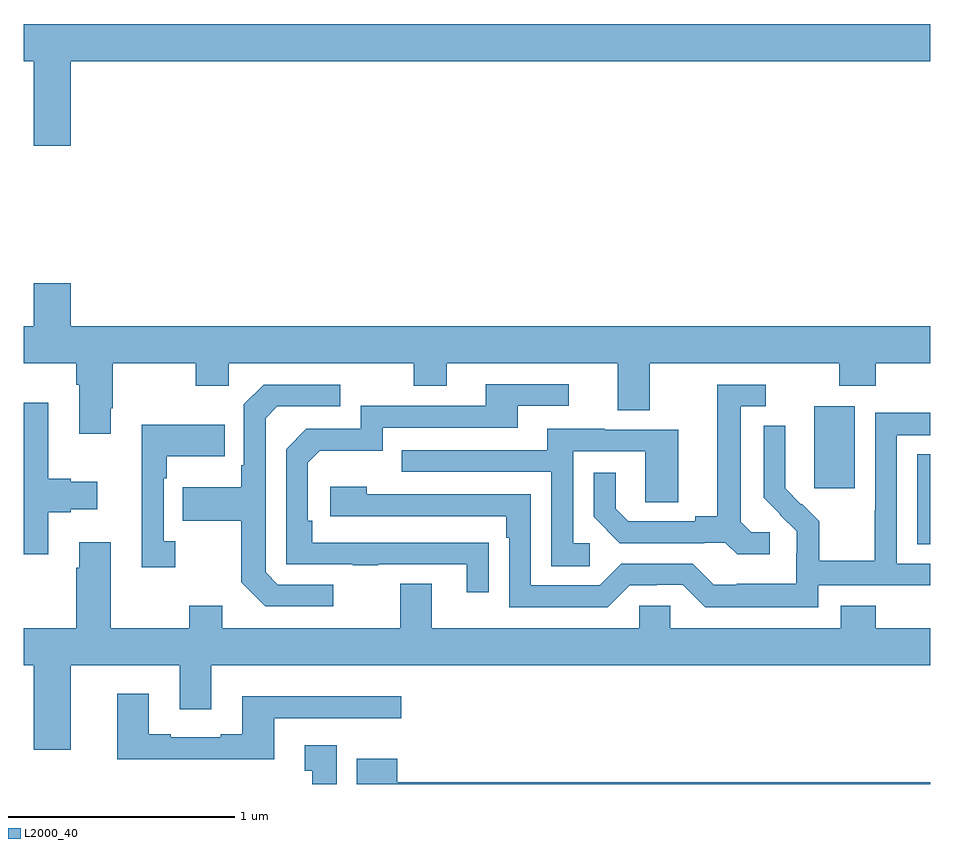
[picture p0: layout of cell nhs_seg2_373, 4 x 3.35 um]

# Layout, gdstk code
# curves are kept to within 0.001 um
import gdstk
lib = gdstk.Library(unit=1e-6, precision=1e-09)
def R(c, l, rs):  # rectangles x0, y0, x1, y1
    for r in rs: c.add(gdstk.rectangle(r[:2], r[2:], *l))
def P(c, l, *ps):  # polygons
    for p in ps: c.add(gdstk.Polygon(p, *l))
L2000_40 = (2000, 40)

nhs_seg2_373 = lib.new_cell('nhs_seg2_373')
R(nhs_seg2_373, L2000_40, [(132.941,626.857,133,627.254), (132.488,627.105,132.667,627.466)])
P(nhs_seg2_373, L2000_40, [(129.208,628.988),(133,628.988),(133,629.152),(129,629.152),(129,628.988),(129.044,628.988),(129.044,628.614),(129.208,628.614)],
  [(129.385,627.457),(129.393,627.457),(129.393,627.656),(129.76,627.656),(129.76,627.557),(129.906,627.557),(129.906,627.656),(130.72,627.656),(130.72,627.557),(130.867,627.557),(130.867,627.656),(131.621,627.656),(131.621,627.448),(131.761,627.448),(131.761,627.656),(132.598,627.656),(132.598,627.557),(132.758,627.557),(132.758,627.656),(133,627.656),(133,627.82),(129.208,627.82),(129.208,628.009),(129.044,628.009),(129.044,627.82),(129,627.82),(129,627.656),(129.233,627.656),(129.233,627.56),(129.245,627.56),(129.245,627.345),(129.385,627.345)],
  [(131.051,626.864),(130.274,626.865),(130.274,626.962),(130.254,626.962),(130.254,627.216),(130.307,627.269),(130.584,627.269),(130.584,627.372),(131.179,627.372),(131.179,627.468),(131.404,627.468),(131.404,627.564),(131.039,627.564),(131.039,627.468),(130.488,627.468),(130.488,627.366),(130.248,627.366),(130.158,627.276),(130.158,626.769),(130.453,626.769),(130.453,626.764),(130.565,626.764),(130.565,626.769),(130.955,626.769),(130.955,626.646),(131.051,626.646)],
  [(132.292,626.91),(132.21,626.91),(132.163,626.957),(132.163,627.465),(132.274,627.465),(132.274,627.561),(132.059,627.561),(132.059,626.981),(131.963,626.981),(131.963,626.958),(131.668,626.958),(131.611,627.015),(131.611,627.172),(131.514,627.172),(131.514,626.978),(131.63,626.862),(132.002,626.862),(132.002,626.865),(132.096,626.865),(132.148,626.813),(132.292,626.813)],
  [(130.366,626.679),(130.122,626.679),(130.068,626.733),(130.068,627.414),(130.119,627.465),(130.396,627.465),(130.396,627.561),(130.059,627.561),(129.972,627.474),(129.972,627.205),(129.96,627.205),(129.96,627.109),(129.703,627.109),(129.703,626.962),(129.96,626.962),(129.96,626.689),(130.065,626.583),(130.366,626.583)],
  [(129.109,626.999),(129.209,626.999),(129.209,627.011),(129.325,627.011),(129.325,627.133),(129.209,627.133),(129.209,627.146),(129.109,627.146),(129.109,627.481),(129,627.481),(129,626.814),(129.109,626.814)],
  [(132.504,626.676),(133,626.676),(133,626.772),(132.852,626.772),(132.852,627.339),(133,627.339),(133,627.438),(132.756,627.438),(132.756,627.008),(132.754,627.008),(132.754,626.785),(132.509,626.785),(132.509,626.959),(132.432,627.036),(132.429,627.033),(132.359,627.104),(132.36,627.38),(132.264,627.38),(132.264,627.062),(132.41,626.914),(132.41,626.817),(132.408,626.817),(132.408,626.683),(132.145,626.683),(132.145,626.679),(132.045,626.679),(131.952,626.772),(131.637,626.772),(131.541,626.676),(131.238,626.676),(131.238,627.078),(130.514,627.078),(130.514,627.112),(130.352,627.112),(130.352,626.982),(131.129,626.982),(131.129,626.885),(131.142,626.885),(131.142,626.58),(131.577,626.58),(131.673,626.676),(131.792,626.676),(131.792,626.679),(131.907,626.679),(132.007,626.579),(132.504,626.579)],
  [(129.67,626.87),(129.618,626.87),(129.618,627.149),(129.631,627.149),(129.631,627.245),(129.887,627.245),(129.887,627.385),(129.521,627.385),(129.521,626.757),(129.67,626.757)],
  [(131.497,626.862),(131.424,626.862),(131.424,627.267),(131.742,627.267),(131.742,627.043),(131.887,627.043),(131.887,627.363),(131.563,627.363),(131.563,627.367),(131.309,627.367),(131.309,627.273),(130.669,627.273),(130.669,627.177),(131.328,627.177),(131.328,626.761),(131.497,626.761)],
  [(129.208,626.324),(129.689,626.324),(129.689,626.13),(129.829,626.13),(129.829,626.324),(133,626.324),(133,626.488),(132.758,626.488),(132.758,626.587),(132.605,626.587),(132.605,626.488),(131.853,626.488),(131.853,626.586),(131.715,626.586),(131.715,626.488),(130.801,626.488),(130.801,626.683),(130.661,626.683),(130.661,626.488),(129.877,626.488),(129.877,626.587),(129.73,626.587),(129.73,626.488),(129.385,626.488),(129.385,626.866),(129.245,626.866),(129.245,626.753),(129.233,626.753),(129.233,626.488),(129,626.488),(129,626.324),(129.044,626.324),(129.044,625.95),(129.208,625.95)],
  [(130.105,626.091),(130.666,626.091),(130.666,626.188),(129.965,626.188),(129.965,626.02),(129.869,626.02),(129.869,626.007),(129.649,626.007),(129.649,626.02),(129.553,626.02),(129.553,626.197),(129.413,626.197),(129.413,625.91),(130.105,625.91)],
  [(130.381,625.972),(130.241,625.972),(130.241,625.859),(130.274,625.859),(130.274,625.8),(130.381,625.8)],
  [(133,625.808),(130.648,625.808),(130.648,625.912),(130.469,625.912),(130.469,625.8),(133,625.8)])

lib.write_gds('nhs_seg2_373.gds')
